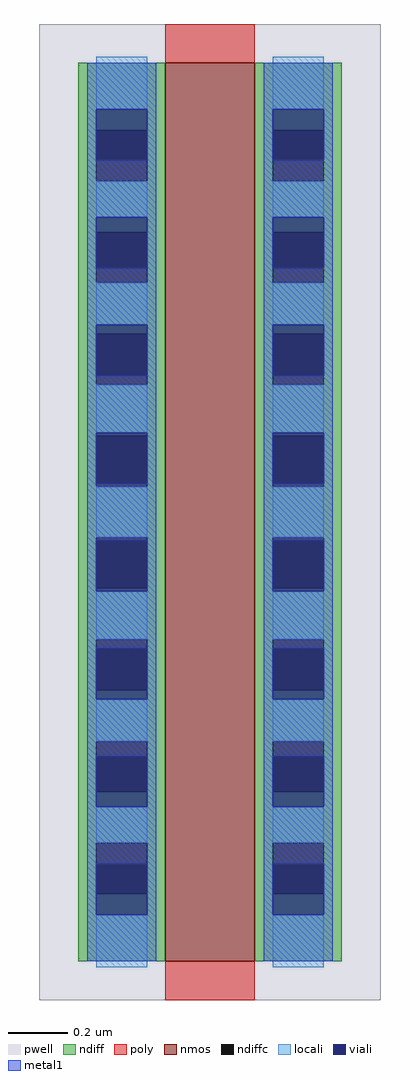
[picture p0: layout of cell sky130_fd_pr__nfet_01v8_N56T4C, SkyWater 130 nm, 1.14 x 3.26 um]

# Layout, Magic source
magic
tech sky130A
magscale 1 2
<< pwell >>
rect -114 -326 114 326
<< nmos >>
rect -30 -300 30 300
<< ndiff >>
rect -88 255 -30 300
rect -88 221 -76 255
rect -42 221 -30 255
rect -88 187 -30 221
rect -88 153 -76 187
rect -42 153 -30 187
rect -88 119 -30 153
rect -88 85 -76 119
rect -42 85 -30 119
rect -88 51 -30 85
rect -88 17 -76 51
rect -42 17 -30 51
rect -88 -17 -30 17
rect -88 -51 -76 -17
rect -42 -51 -30 -17
rect -88 -85 -30 -51
rect -88 -119 -76 -85
rect -42 -119 -30 -85
rect -88 -153 -30 -119
rect -88 -187 -76 -153
rect -42 -187 -30 -153
rect -88 -221 -30 -187
rect -88 -255 -76 -221
rect -42 -255 -30 -221
rect -88 -300 -30 -255
rect 30 255 88 300
rect 30 221 42 255
rect 76 221 88 255
rect 30 187 88 221
rect 30 153 42 187
rect 76 153 88 187
rect 30 119 88 153
rect 30 85 42 119
rect 76 85 88 119
rect 30 51 88 85
rect 30 17 42 51
rect 76 17 88 51
rect 30 -17 88 17
rect 30 -51 42 -17
rect 76 -51 88 -17
rect 30 -85 88 -51
rect 30 -119 42 -85
rect 76 -119 88 -85
rect 30 -153 88 -119
rect 30 -187 42 -153
rect 76 -187 88 -153
rect 30 -221 88 -187
rect 30 -255 42 -221
rect 76 -255 88 -221
rect 30 -300 88 -255
<< ndiffc >>
rect -76 221 -42 255
rect -76 153 -42 187
rect -76 85 -42 119
rect -76 17 -42 51
rect -76 -51 -42 -17
rect -76 -119 -42 -85
rect -76 -187 -42 -153
rect -76 -255 -42 -221
rect 42 221 76 255
rect 42 153 76 187
rect 42 85 76 119
rect 42 17 76 51
rect 42 -51 76 -17
rect 42 -119 76 -85
rect 42 -187 76 -153
rect 42 -255 76 -221
<< poly >>
rect -30 300 30 326
rect -30 -326 30 -300
<< locali >>
rect -76 269 -42 304
rect -76 197 -42 221
rect -76 125 -42 153
rect -76 53 -42 85
rect -76 -17 -42 17
rect -76 -85 -42 -53
rect -76 -153 -42 -125
rect -76 -221 -42 -197
rect -76 -304 -42 -269
rect 42 269 76 304
rect 42 197 76 221
rect 42 125 76 153
rect 42 53 76 85
rect 42 -17 76 17
rect 42 -85 76 -53
rect 42 -153 76 -125
rect 42 -221 76 -197
rect 42 -304 76 -269
<< viali >>
rect -76 255 -42 269
rect -76 235 -42 255
rect -76 187 -42 197
rect -76 163 -42 187
rect -76 119 -42 125
rect -76 91 -42 119
rect -76 51 -42 53
rect -76 19 -42 51
rect -76 -51 -42 -19
rect -76 -53 -42 -51
rect -76 -119 -42 -91
rect -76 -125 -42 -119
rect -76 -187 -42 -163
rect -76 -197 -42 -187
rect -76 -255 -42 -235
rect -76 -269 -42 -255
rect 42 255 76 269
rect 42 235 76 255
rect 42 187 76 197
rect 42 163 76 187
rect 42 119 76 125
rect 42 91 76 119
rect 42 51 76 53
rect 42 19 76 51
rect 42 -51 76 -19
rect 42 -53 76 -51
rect 42 -119 76 -91
rect 42 -125 76 -119
rect 42 -187 76 -163
rect 42 -197 76 -187
rect 42 -255 76 -235
rect 42 -269 76 -255
<< metal1 >>
rect -82 269 -36 300
rect -82 235 -76 269
rect -42 235 -36 269
rect -82 197 -36 235
rect -82 163 -76 197
rect -42 163 -36 197
rect -82 125 -36 163
rect -82 91 -76 125
rect -42 91 -36 125
rect -82 53 -36 91
rect -82 19 -76 53
rect -42 19 -36 53
rect -82 -19 -36 19
rect -82 -53 -76 -19
rect -42 -53 -36 -19
rect -82 -91 -36 -53
rect -82 -125 -76 -91
rect -42 -125 -36 -91
rect -82 -163 -36 -125
rect -82 -197 -76 -163
rect -42 -197 -36 -163
rect -82 -235 -36 -197
rect -82 -269 -76 -235
rect -42 -269 -36 -235
rect -82 -300 -36 -269
rect 36 269 82 300
rect 36 235 42 269
rect 76 235 82 269
rect 36 197 82 235
rect 36 163 42 197
rect 76 163 82 197
rect 36 125 82 163
rect 36 91 42 125
rect 76 91 82 125
rect 36 53 82 91
rect 36 19 42 53
rect 76 19 82 53
rect 36 -19 82 19
rect 36 -53 42 -19
rect 76 -53 82 -19
rect 36 -91 82 -53
rect 36 -125 42 -91
rect 76 -125 82 -91
rect 36 -163 82 -125
rect 36 -197 42 -163
rect 76 -197 82 -163
rect 36 -235 82 -197
rect 36 -269 42 -235
rect 76 -269 82 -235
rect 36 -300 82 -269
<< end >>
